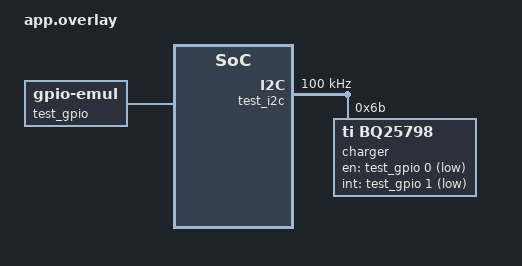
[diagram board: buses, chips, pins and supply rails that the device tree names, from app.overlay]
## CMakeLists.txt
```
# SPDX-License-Identifier: FSL-1.1-ALv2
cmake_minimum_required(VERSION 3.20.0)
find_package(Zephyr REQUIRED HINTS $ENV{ZEPHYR_BASE})
project(bq25798)
target_sources(app PRIVATE src/main.c)
target_include_directories(app PRIVATE ${INFUSE_DIR}/drivers/sensor)
```

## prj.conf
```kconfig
CONFIG_ZTEST=y
CONFIG_SENSOR=y
CONFIG_I2C=y
CONFIG_GPIO=y
CONFIG_EMUL=y
CONFIG_SYS_CLOCK_TICKS_PER_SEC=1000
CONFIG_MAIN_STACK_SIZE=2048
CONFIG_SYSTEM_WORKQUEUE_STACK_SIZE=2048
```

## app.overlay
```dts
/* SPDX-License-Identifier: FSL-1.1-ALv2 */
#include <zephyr/dt-bindings/gpio/gpio.h>

/ {
	test_gpio: gpio-emul {
		compatible = "zephyr,gpio-emul";
		gpio-controller;
		#gpio-cells = <2>;
		ngpios = <4>;
		falling-edge;
	};

	test_i2c: i2c@11112222 {
		compatible = "zephyr,i2c-emul-controller";
		reg = <0x11112222 0x1000>;
		#address-cells = <1>;
		#size-cells = <0>;
		clock-frequency = <100000>;

		charger: charger@6b {
			compatible = "ti,bq25798";
			reg = <0x6b>;
			en-gpios = <&test_gpio 0 GPIO_ACTIVE_LOW>;
			int-gpios = <&test_gpio 1 GPIO_ACTIVE_LOW>;
			ts-rt1 = <5230>;
			ts-rt2 = <30100>;
			constant-charge-current-max-microamp = <4000000>;
			charge-term-current-microamp = <200000>;
			mppt-ratio = <81>;
		};
	};

	test_i2c_disabled: i2c@11113333 {
		compatible = "zephyr,i2c-emul-controller";
		reg = <0x11113333 0x1000>;
		#address-cells = <1>;
		#size-cells = <0>;
		clock-frequency = <100000>;

		charger_disabled: charger-disabled@6b {
			compatible = "ti,bq25798";
			reg = <0x6b>;
			en-gpios = <&test_gpio 2 GPIO_ACTIVE_LOW>;
			int-gpios = <&test_gpio 3 GPIO_ACTIVE_LOW>;
			ts-rt1 = <5230>;
			ts-rt2 = <30100>;
		};
	};
};
```

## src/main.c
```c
/*
 * Copyright (c) 2026 Embeint Holdings Pty Ltd
 * SPDX-License-Identifier: FSL-1.1-ALv2
 */
#define DT_DRV_COMPAT ti_bq25798

#include <zephyr/drivers/emul.h>
#include <zephyr/drivers/gpio/gpio_emul.h>
#include <zephyr/drivers/i2c_emul.h>
#include <zephyr/drivers/sensor.h>
#include <zephyr/sys/byteorder.h>
#include <zephyr/ztest.h>

#include "bq25798.h"

/* Test-only register/interrupt model. Production code is exercised through sensor APIs. */
struct charger_emul {
	uint8_t regs[0x49];
	uint8_t initial_regs[0x49];
	struct gpio_dt_spec irq;
	struct k_work_delayable conversion;
	struct k_work_delayable unrelated;
	int fail_read;
	int fail_write;
	int mppt_writes;
	int mppt_reads;
	int adc_reads;
	bool reject_enable;
	bool complete;
	bool completion_irq;
	bool spurious_irq;
	bool storm;
	bool converting;
	bool fail_during_conversion;
};

static void pulse_irq(struct charger_emul *data)
{
	gpio_emul_input_set(data->irq.port, data->irq.pin, 0);
	gpio_emul_input_set(data->irq.port, data->irq.pin, 1);
}

static void conversion_done(struct k_work *work)
{
	struct charger_emul *data =
		CONTAINER_OF(k_work_delayable_from_work(work), struct charger_emul, conversion);

	/* Only publish the new ADC value once conversion has completed. */
	sys_put_be16(3123, &data->regs[BQ25798_REG_VBAT_ADC]);
	data->regs[BQ25798_REG_CHARGER_FLAG_2] |= BQ25798_CHARGER_FLAG_2_ADC_DONE;
	data->converting = false;
	if (data->completion_irq) {
		pulse_irq(data);
	}
}

static void unrelated_irq(struct k_work *work)
{
	struct charger_emul *data =
		CONTAINER_OF(k_work_delayable_from_work(work), struct charger_emul, unrelated);

	pulse_irq(data);
	if (data->storm) {
		k_work_reschedule(&data->unrelated, K_MSEC(10));
	}
}

static int transfer(const struct emul *emul, struct i2c_msg *msgs, int num_msgs, int addr)
{
	struct charger_emul *data = emul->data;
	uint8_t reg = msgs[0].buf[0];

	if (num_msgs == 2) {
		if (reg == data->fail_read) {
			return -EIO;
		}
		if (reg + msgs[1].len > sizeof(data->regs)) {
			return -EINVAL;
		}
		if (reg == BQ25798_REG_MPPT_CONTROL) {
			data->mppt_reads++;
		}
		if (reg == BQ25798_REG_IBUS_ADC) {
			data->adc_reads++;
		}
		memcpy(msgs[1].buf, &data->regs[reg], msgs[1].len);
		/* FLAG2 is read-to-clear, unlike the status registers. */
		if ((reg <= BQ25798_REG_CHARGER_FLAG_2) &&
		    (reg + msgs[1].len > BQ25798_REG_CHARGER_FLAG_2)) {
			data->regs[BQ25798_REG_CHARGER_FLAG_2] = 0;
		}
		return 0;
	}
	if ((num_msgs != 1) || (reg + msgs[0].len - 1 > sizeof(data->regs))) {
		return -EINVAL;
	}
	if (reg == data->fail_write) {
		return -EIO;
	}
	memcpy(&data->regs[reg], &msgs[0].buf[1], msgs[0].len - 1);
	if (reg == BQ25798_REG_MPPT_CONTROL) {
		data->mppt_writes++;
		if (data->reject_enable ||
		    (data->regs[BQ25798_REG_CHARGER_STATUS_3] & BQ25798_CHARGER_STATUS_3_VSYS) ||
		    !(data->regs[BQ25798_REG_CHARGER_STATUS_0] &
		      BQ25798_CHARGER_STATUS_0_VBUS_PRESENT)) {
			data->regs[reg] &= ~BQ25798_MPPT_CONTROL_MPPT_ENABLE;
		}
	}
	if (reg == BQ25798_REG_ADC_CONTROL) {
		data->converting = true;
		if (data->fail_during_conversion) {
			data->fail_read = BQ25798_REG_CHARGER_FLAG_2;
		}
		if (data->complete) {
			k_work_reschedule(&data->conversion, K_MSEC(40));
		}
		if (data->spurious_irq || data->storm) {
			k_work_reschedule(&data->unrelated, K_MSEC(5));
		}
	}
	return 0;
}

static int emul_init(const struct emul *emul, const struct device *parent)
{
	struct charger_emul *data = emul->data;

	data->fail_read = -1;
	data->fail_write = -1;
	data->regs[BQ25798_REG_PART_INFO] = 0x19;
	/* Simulate initialization with a battery below VSYSMIN. */
	data->regs[BQ25798_REG_CHARGER_STATUS_3] = BQ25798_CHARGER_STATUS_3_VSYS;
	k_work_init_delayable(&data->conversion, conversion_done);
	k_work_init_delayable(&data->unrelated, unrelated_irq);
	int rc = gpio_pin_configure_dt(&data->irq, GPIO_INPUT);

	return rc ? rc : gpio_emul_input_set(data->irq.port, data->irq.pin, 1);
}

static const struct i2c_emul_api emul_api = {.transfer = transfer};

#define CHARGER_EMUL(inst)                                                                         \
	static struct charger_emul emul_data_##inst = {                                            \
		.irq = GPIO_DT_SPEC_INST_GET(inst, int_gpios),                                     \
	};                                                                                         \
	EMUL_DT_INST_DEFINE(inst, emul_init, &emul_data_##inst, NULL, &emul_api, NULL);
DT_INST_FOREACH_STATUS_OKAY(CHARGER_EMUL)

static const struct device *const charger = DEVICE_DT_GET(DT_NODELABEL(charger));
static const struct device *const disabled = DEVICE_DT_GET(DT_NODELABEL(charger_disabled));
static struct charger_emul *const model = EMUL_DT_GET(DT_NODELABEL(charger))->data;
static struct charger_emul *const disabled_model =
	EMUL_DT_GET(DT_NODELABEL(charger_disabled))->data;

static void reset_model(struct charger_emul *data)
{
	memcpy(data->regs, data->initial_regs, sizeof(data->regs));
	data->regs[BQ25798_REG_CHARGER_STATUS_0] =
		BQ25798_CHARGER_STATUS_0_VBUS_PRESENT | BQ25798_CHARGER_STATUS_0_POWER_GOOD;
	data->regs[BQ25798_REG_CHARGER_STATUS_2] = BQ25798_CHARGER_STATUS_2_VBAT_PRESENT;
	data->regs[BQ25798_REG_CHARGER_STATUS_3] = 0;
	data->regs[BQ25798_REG_CHARGER_FLAG_2] = 0;
	sys_put_be16(1234, &data->regs[BQ25798_REG_VBAT_ADC]);
	data->mppt_writes = 0;
	data->mppt_reads = 0;
	data->adc_reads = 0;
	data->fail_read = -1;
	data->fail_write = -1;
	data->reject_enable = false;
	data->complete = true;
	data->completion_irq = true;
	data->spurious_irq = false;
	data->storm = false;
	data->converting = false;
	data->fail_during_conversion = false;
}

static void *setup(void)
{
	zassert_true(device_is_ready(charger));
	zassert_true(device_is_ready(disabled));
	memcpy(model->initial_regs, model->regs, sizeof(model->regs));
	memcpy(disabled_model->initial_regs, disabled_model->regs, sizeof(disabled_model->regs));
	return NULL;
}

static void before(void *fixture)
{
	reset_model(model);
	reset_model(disabled_model);
}

static void after(void *fixture)
{
	struct k_work_sync sync;

	model->storm = false;
	disabled_model->storm = false;
	k_work_cancel_delayable_sync(&model->conversion, &sync);
	k_work_cancel_delayable_sync(&model->unrelated, &sync);
	k_work_cancel_delayable_sync(&disabled_model->conversion, &sync);
	k_work_cancel_delayable_sync(&disabled_model->unrelated, &sync);
}

static void fetch_fresh(const struct device *dev)
{
	struct sensor_value val;

	zassert_ok(sensor_sample_fetch(dev));
	zassert_ok(sensor_channel_get(dev, SENSOR_CHAN_GAUGE_VOLTAGE, &val));
	zassert_equal(sensor_value_to_milli(&val), 3123);
}

ZTEST(bq25798, test_initial_configuration)
{
	zassert_equal(model->initial_regs[BQ25798_REG_MPPT_CONTROL], 0x88);
	zassert_equal(model->initial_regs[BQ25798_REG_TERM_CONTROL], 0x05);
	zassert_equal(sys_get_be16(&model->initial_regs[BQ25798_REG_CHARGE_CURRENT_LIM]), 400);
	zassert_equal(model->initial_regs[BQ25798_REG_INPUT_VOLTAGE_LIM], 36);
	zassert_equal(disabled_model->initial_regs[BQ25798_REG_MPPT_CONTROL], 0);
}

ZTEST(bq25798, test_low_battery_then_recovery)
{
	model->regs[BQ25798_REG_CHARGER_STATUS_3] = BQ25798_CHARGER_STATUS_3_VSYS;
	fetch_fresh(charger);
	zassert_equal(model->mppt_writes, 0);
	model->regs[BQ25798_REG_CHARGER_STATUS_3] = 0;
	fetch_fresh(charger);
	zassert_equal(model->regs[BQ25798_REG_MPPT_CONTROL], 0x89);
	zassert_equal(model->mppt_writes, 1);
	fetch_fresh(charger);
	zassert_equal(model->mppt_writes, 1, "Do not restart an active MPPT cycle");
}

ZTEST(bq25798, test_input_loss_then_return)
{
	fetch_fresh(charger);
	/* Hardware clears EN_MPPT on input loss. */
	model->regs[BQ25798_REG_MPPT_CONTROL] &= ~BQ25798_MPPT_CONTROL_MPPT_ENABLE;
	model->regs[BQ25798_REG_CHARGER_STATUS_0] = 0;
	fetch_fresh(charger);
	zassert_equal(model->mppt_writes, 1);
	model->regs[BQ25798_REG_CHARGER_STATUS_0] = 0x09;
	fetch_fresh(charger);
	zassert_equal(model->regs[BQ25798_REG_MPPT_CONTROL], 0x89);
	zassert_equal(model->mppt_writes, 2);
}

ZTEST(bq25798, test_mppt_disabled)
{
	fetch_fresh(disabled);
	zassert_equal(disabled_model->mppt_writes, 0);
	zassert_equal(disabled_model->regs[BQ25798_REG_MPPT_CONTROL], 0);
}

ZTEST(bq25798, test_mppt_eligibility)
{
	model->regs[BQ25798_REG_CHARGER_STATUS_0] = BQ25798_CHARGER_STATUS_0_VBUS_PRESENT;
	fetch_fresh(charger);
	zassert_equal(model->mppt_writes, 0, "Power must be good");
	model->regs[BQ25798_REG_CHARGER_STATUS_0] = 0x09;
	model->regs[BQ25798_REG_CHARGER_STATUS_2] = 0;
	fetch_fresh(charger);
	zassert_equal(model->mppt_writes, 0, "Battery must be present");
	model->regs[BQ25798_REG_CHARGER_STATUS_2] = BQ25798_CHARGER_STATUS_2_VBAT_PRESENT;
	model->regs[BQ25798_REG_CHARGER_CONTROL_0] |= BQ25798_CHARGER_CONTROL_0_EN_ICO;
	fetch_fresh(charger);
	zassert_equal(model->mppt_writes, 0, "Do not override ICO");
	model->regs[BQ25798_REG_CHARGER_CONTROL_0] &= ~BQ25798_CHARGER_CONTROL_0_EN_ICO;
	model->regs[BQ25798_REG_CHARGER_CONTROL_4] |= BQ25798_CHARGER_CONTROL_4_FORCE_VINDPM_DET;
	fetch_fresh(charger);
	zassert_equal(model->mppt_writes, 0, "Do not override VINDPM detection");
}

ZTEST(bq25798, test_hiz_retry_policy)
{
	model->regs[BQ25798_REG_CHARGER_CONTROL_0] |= BQ25798_CHARGER_CONTROL_0_EN_HIZ;
	fetch_fresh(charger);
	zassert_equal(model->mppt_writes,
		      IS_ENABLED(CONFIG_BQ25798_FETCH_POOR_SOURCE_RETRY) ? 1 : 0);
}

ZTEST(bq25798, test_rejected_enable_retried)
{
	model->reject_enable = true;
	fetch_fresh(charger);
	zassert_equal(model->regs[BQ25798_REG_MPPT_CONTROL], 0x88);
	zassert_equal(model->mppt_reads, 2, "Read back the enable attempt");
	model->reject_enable = false;
	fetch_fresh(charger);
	zassert_equal(model->regs[BQ25798_REG_MPPT_CONTROL], 0x89);
	zassert_equal(model->mppt_writes, 2);
}

ZTEST(bq25798, test_mppt_bus_failure)
{
	model->fail_write = BQ25798_REG_MPPT_CONTROL;
	zassert_equal(sensor_sample_fetch(charger), -EIO);
	zassert_equal(model->adc_reads, 0);
	model->fail_write = -1;
	fetch_fresh(charger);
	zassert_equal(model->regs[BQ25798_REG_MPPT_CONTROL], 0x89);
}

ZTEST(bq25798, test_unrelated_interrupt)
{
	model->spurious_irq = true;
	fetch_fresh(charger);
	zassert_false(model->converting);
	zassert_equal(model->adc_reads, 1);
}

ZTEST(bq25798, test_stale_done_flag)
{
	model->regs[BQ25798_REG_CHARGER_FLAG_2] = BQ25798_CHARGER_FLAG_2_ADC_DONE;
	model->spurious_irq = true;
	fetch_fresh(charger);
	zassert_false(model->converting);
}

ZTEST(bq25798, test_missing_interrupt)
{
	model->completion_irq = false;
	fetch_fresh(charger);
}

ZTEST(bq25798, test_interrupt_storm_timeout)
{
	int64_t start = k_uptime_get();

	model->complete = false;
	model->storm = true;
	zassert_equal(sensor_sample_fetch(charger), -EIO);
	zassert_between_inclusive(k_uptime_get() - start, 500, 600);
	zassert_equal(model->adc_reads, 0);
}

ZTEST(bq25798, test_flag_read_failure)
{
	model->fail_read = BQ25798_REG_CHARGER_FLAG_2;
	zassert_equal(sensor_sample_fetch(charger), -EIO);
	zassert_false(model->converting);
	zassert_equal(model->adc_reads, 0);
}

ZTEST(bq25798, test_completion_read_failure)
{
	model->fail_during_conversion = true;
	zassert_equal(sensor_sample_fetch(charger), -EIO);
	zassert_equal(model->adc_reads, 0);
}

ZTEST_SUITE(bq25798, NULL, setup, before, after, NULL);
```
